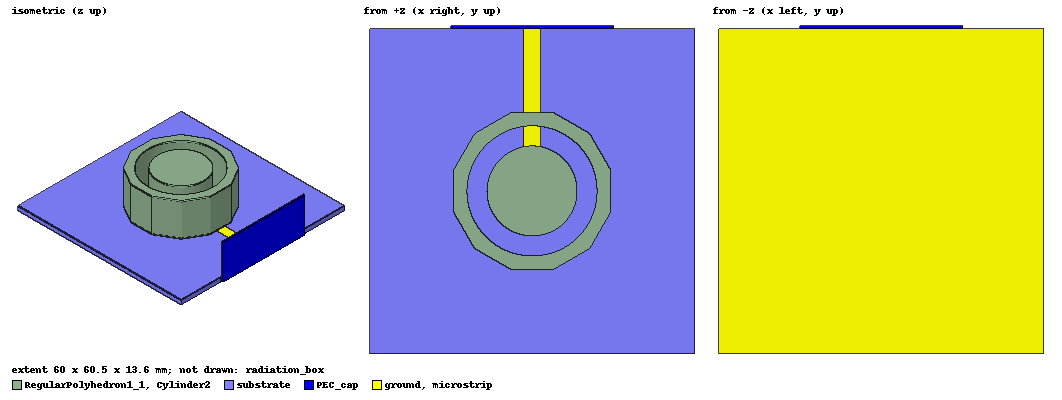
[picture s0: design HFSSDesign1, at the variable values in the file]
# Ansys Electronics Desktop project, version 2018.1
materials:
  vacuum: permittivity=1
  Rogers RT/duroid 5880 (tm): permittivity=2.2 dielectric_loss_tangent=0.0009
  Alumina Ceamic: permittivity=9.9 dielectric_loss_tangent=0.0001
  pec: conductivity=1e+30
  FR4_epoxy: permittivity=4.4 dielectric_loss_tangent=0.02
  Zirconia: permittivity=23 dielectric_loss_tangent=0.0013

design HFSSDesign1 (HFSS, DrivenModal, model units mm)
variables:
  SL = 60mm
  SW = 60mm
  SH = 1.6mm
  MW = 3
  M = 3mm
  L = 35mm
  rad = 12mm
  h = 12mm  # optimise 5mm..15mm
  RC = 8.3mm  # optimise 5mm..15mm
  ns = 12
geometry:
  substrate [FR4_epoxy] = box(corner=(-SL/2, -SW/2, 0mm), size=(SL, SW, SH))
  ground = rectangle(corner=(-SL/2, -SW/2, 0mm), x_size=SL, y_size=SW)
  coordinate_system RelativeCS1 = origin=(0mm, SW/2, SH) x=(1mm, 0mm, 0mm) y=(0mm, 1mm, 0mm)
  microstrip = rectangle(corner=(-M/2, 0mm, 0mm), x_size=M, y_size=-L) in RelativeCS1
  coordinate_system RelativeCS2 = origin=(0mm, -SW/2, 0mm) x=(1mm, 0mm, 0mm) y=(0mm, 1mm, 0mm) in RelativeCS1
  radiation_box [vacuum] = box(corner=(-60mm, -60mm, -10mm), size=(120mm, 120mm, 50mm)) in RelativeCS2
  port = rectangle(corner=(-5*M, 0mm, -SH), z_size=8*SH, x_size=10*M) in RelativeCS1
  PEC_cap [pec] = box(corner=(-5*M, 0mm, -SH), size=(10*M, 0.5mm, 8*SH)) in RelativeCS1
  Cylinder1 = cylinder(axis=Z, base_centre=(0mm, -30mm, 0mm), radius=rad, height=h) in RelativeCS1
  RegularPolyhedron1 = polyhedron(axis=Z, centre=(0mm, -30mm, 0mm), first_corner=(-15mm, -30mm, 0mm), sides=ns, height=h) in RelativeCS1
  Cylinder2 [Zirconia] = cylinder(axis=Z, base_centre=(0mm, -30mm, 0mm), radius=RC, height=h) in RelativeCS1
  RegularPolyhedron1.subtract(Cylinder1)
  RegularPolyhedron1_1 [Zirconia] = RegularPolyhedron1.duplicate_around_axis(axis=Z, angle=15deg, total=2) in RelativeCS2
  RegularPolyhedron1.delete()
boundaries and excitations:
  PerfE1: Perfect E Objects=ground
  PerfE2: Perfect E Objects=microstrip
  Rad1: Radiation Objects=radiation_box
  1: Wave Port Objects=port NumModes=1 Modes{Mode1{IntLine{middle of port.edge(4 of 4) -> middle of microstrip.edge(1 of 4)} CharImp=Zpi RenormImp=50ohm}}
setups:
  Setup1: HfssDriven AdaptMultipleFreqs MultipleAdaptiveFreqsSetup{2.4GHz(0.02) 5.8GHz(0.02)} MaximumPasses=16 MinimumPasses=1 MinimumConvergedPasses=1 PercentRefinement=30 BasisOrder=1 PortAccuracy=2
    sweep Sweep: 2GHz to 7GHz, 401 points; Type=Discrete SaveFields
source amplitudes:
  1:1: 1W 0deg
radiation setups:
  Infinite Sphere1: Infinite Sphere Theta=-180deg..180deg step 2deg Phi=0deg..360deg step 2deg
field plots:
  Mag_Jsurf1: Jsurf over substrate on Setup1 : Sweep at Freq=5.78GHz Phase=0deg
  Mag_Jsurf2: Jsurf over microstrip.face on Setup1 : Sweep at Freq=1GHz Phase=0deg
